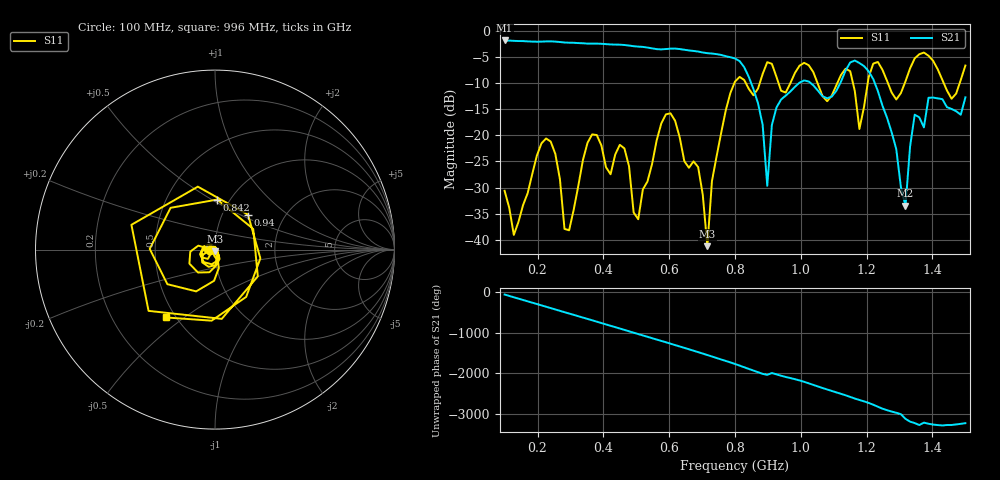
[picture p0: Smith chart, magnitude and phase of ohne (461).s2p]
! NanoVNA-App
! Date: 2025-09-25 14:24:23
! Start: 100MHz Stop: 1,5GHz Points: 101
! S-Parameter data: F S11 S21 S12 S22
# Hz S RI R 50
!  Frequency  S11_Real  S11_Imag  S21_Real  S21_Imag  S12_Real  S12_Imag  S22_Real  S22_Imag
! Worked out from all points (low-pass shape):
!   101 points, 100 MHz to 1.5 GHz, reference 50 ohm
!   highest |S21| = -1.79 dB at 100 MHz (marker M1); lowest = -33.5 dB at 1.318 GHz (marker M2)
!   |S21| within 3 dB of the highest: start of sweep to 771.1 MHz
!   lowest |S11| = -41.3 dB at 716 MHz (marker M3), VSWR 1.02, Z = 49.8 - j0.846 ohm
!   |S11| at or under -10 dB: start of sweep to 798 MHz; 833.1 MHz to 875.1 MHz (42.01 MHz wide, 4.92 % of centre); 1.051 GHz to 1.111 GHz (59.78 MHz wide, 5.53 % of centre) (the widest 3 of 7)
!   S12 and S22 are empty: the file has one direction only
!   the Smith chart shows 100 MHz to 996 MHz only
!   S11 on the Smith chart (normalised r, x): 100 MHz: 0.94, -0.01; 842 MHz: 0.88, +0.53; 940 MHz: 1.32, +0.55; 996 MHz: 0.45, -0.43
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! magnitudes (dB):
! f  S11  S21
! 100 MHz  -30.6  -1.8
! 128 MHz  -39.1  -1.9
! 226 MHz  -20.6  -2.0
! 296 MHz  -38.2  -2.2
! 338 MHz  -24.7  -2.3
! 464 MHz  -22.5  -2.7
! 506 MHz  -36.1  -3.0
! 576 MHz  -17.7  -3.5
! 688 MHz  -26.1  -3.9
! 716 MHz  -41.3  -4.2
! 800 MHz  -9.7  -5.2
! 842 MHz  -11.1  -8.8
! 898 MHz  -6.0  -29.7
! 940 MHz  -11.4  -13.1
! 996 MHz  -6.6  -9.9
! 1.038 GHz  -7.9  -10.4
! 1.178 GHz  -18.8  -6.1
! 1.22 GHz  -6.2  -9.2
! 1.276 GHz  -11.8  -19.4
! 1.318 GHz  -9.6  -33.5
! 1.346 GHz  -5.2  -16.0
! 1.5 GHz  -6.6  -12.7
